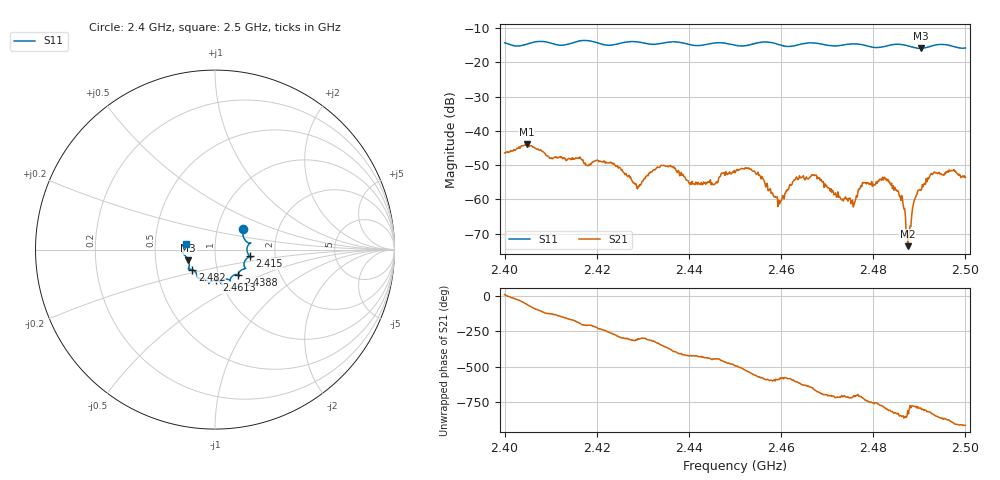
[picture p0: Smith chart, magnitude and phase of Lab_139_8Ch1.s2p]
# Hz S RI R 50
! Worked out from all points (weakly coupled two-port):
!   601 points, 2.4 GHz to 2.5 GHz, reference 50 ohm
!   highest |S21| = -43.86 dB at 2.4048 GHz (marker M1); lowest = -73.7 dB at 2.4875 GHz (marker M2)
!   lowest |S11| = -15.9 dB at 2.4903 GHz (marker M3), VSWR 1.38, Z = 36.8 - j4.42 ohm
!   |S11| at or under -10 dB: start of sweep to end of sweep
!   S12 and S22 are empty: the file has one direction only
!   S11 on the Smith chart (normalised r, x): 2.4 GHz: 1.33, +0.31; 2.415 GHz: 1.47, -0.11; 2.4388 GHz: 1.24, -0.36; 2.4613 GHz: 0.96, -0.34; 2.482 GHz: 0.76, -0.17; 2.5 GHz: 0.72, +0.05
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2.4e9  0.1578 0.1121  0.00472 0.000566  0 0  0 0
2.404833e9  0.1807 0.0398  0.0029 -0.00572  0 0  0 0
2.415e9  0.1924 -0.036  -0.00394 -0.000415  0 0  0 0
2.416667e9  0.2034 -0.0438  -0.00353 0.00155  0 0  0 0
2.429e9  0.1678 -0.1063  0.000819 0.00133  0 0  0 0
2.433333e9  0.1323 -0.1316  0.00265 0.00125  0 0  0 0
2.438833e9  0.1296 -0.1407  0.0012 -0.00182  0 0  0 0
2.445333e9  0.0835 -0.1721  0.000166 -0.00164  0 0  0 0
2.45e9  0.0689 -0.165  -0.00171 -0.00174  0 0  0 0
2.4545e9  0.0338 -0.1869  -0.00224 0.000807  0 0  0 0
2.459667e9  0.0282 -0.1787  -0.000562 0.000645  0 0  0 0
2.461333e9  0.00768 -0.1712  -0.000995 0.000885  0 0  0 0
2.466667e9  -0.0349 -0.1901  0.00066 0.0022  0 0  0 0
2.475667e9  -0.0945 -0.161  0.000757 0.000158  0 0  0 0
2.477833e9  -0.0975 -0.1512  0.00173 -2.76e-05  0 0  0 0
2.482e9  -0.126 -0.1118  0.00116 -0.00174  0 0  0 0
2.483333e9  -0.1397 -0.1089  8.87e-05 -0.00179  0 0  0 0
2.486e9  -0.1487 -0.1072  -0.000516 -0.000818  0 0  0 0
2.4875e9  -0.1447 -0.0979  6.38e-06 -0.000207  0 0  0 0
2.490333e9  -0.1493 -0.0586  0.000477 -0.00126  0 0  0 0
2.493e9  -0.1742 -0.0268  -0.000928 -0.00221  0 0  0 0
2.5e9  -0.159 0.0325  -0.00204 0.000422  0 0  0 0
